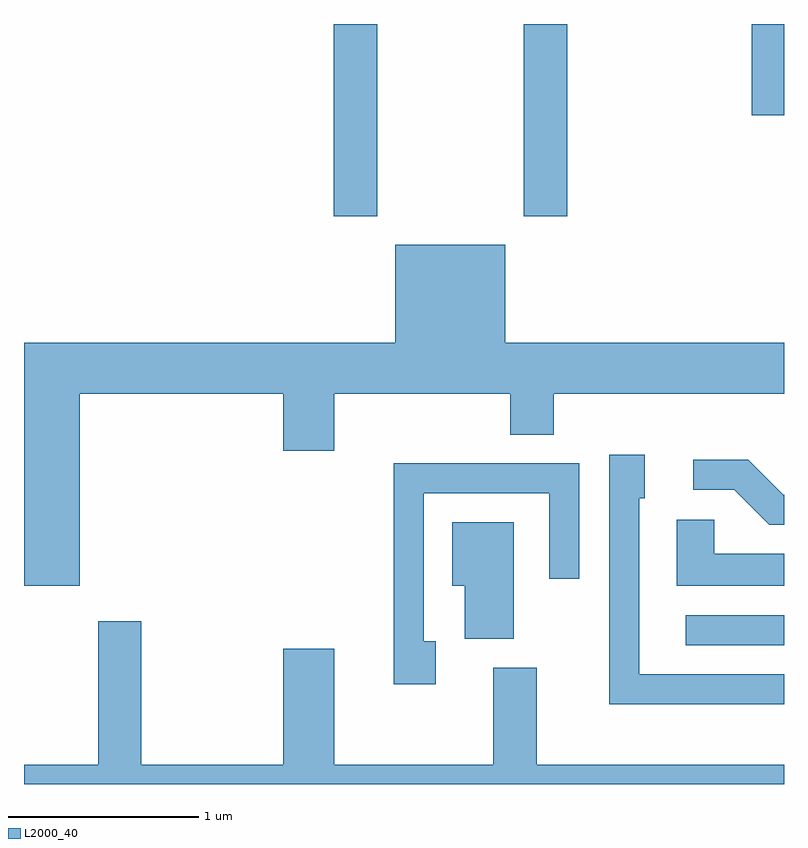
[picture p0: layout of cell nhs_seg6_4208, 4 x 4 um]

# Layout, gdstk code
import gdstk
lib = gdstk.Library(unit=1e-6, precision=1e-09)
def R(c, l, rs):  # rectangles x0, y0, x1, y1
    for r in rs: c.add(gdstk.rectangle(r[:2], r[2:], *l))
def P(c, l, *ps):  # polygons
    for p in ps: c.add(gdstk.Polygon(p, *l))
L2000_40 = (2000, 40)

nhs_seg6_4208 = lib.new_cell('nhs_seg6_4208')
R(nhs_seg6_4208, L2000_40, [(317.093,1590.891,317.611,1591.049), (315.241,1593.151,315.469,1594.162), (316.241,1593.151,316.469,1594.162), (317.441,1593.681,317.611,1594.162)])
P(nhs_seg6_4208, L2000_40, [(313.904,1592.216),(314.976,1592.216),(314.976,1591.916),(315.244,1591.916),(315.244,1592.216),(316.171,1592.216),(316.171,1592.001),(316.399,1592.001),(316.399,1592.216),(317.611,1592.216),(317.611,1592.484),(316.144,1592.484),(316.144,1592.999),(315.566,1592.999),(315.566,1592.484),(313.611,1592.484),(313.611,1591.206),(313.904,1591.206)],
  [(317.611,1590.739),(316.849,1590.739),(316.849,1591.666),(316.879,1591.666),(316.879,1591.894),(316.691,1591.894),(316.691,1590.581),(317.611,1590.581)],
  [(317.611,1591.684),(317.607,1591.684),(317.422,1591.869),(317.133,1591.869),(317.133,1591.711),(317.349,1591.711),(317.534,1591.526),(317.611,1591.526)],
  [(315.779,1590.914),(315.714,1590.914),(315.714,1591.691),(316.376,1591.691),(316.376,1591.243),(316.534,1591.243),(316.534,1591.849),(315.556,1591.849),(315.556,1590.686),(315.779,1590.686)],
  [(317.611,1591.374),(317.244,1591.374),(317.244,1591.554),(317.046,1591.554),(317.046,1591.206),(317.611,1591.206)],
  [(316.189,1591.539),(315.866,1591.539),(315.866,1591.206),(315.931,1591.206),(315.931,1590.926),(316.189,1590.926)],
  [(317.611,1590.264),(316.309,1590.264),(316.309,1590.774),(316.081,1590.774),(316.081,1590.264),(315.244,1590.264),(315.244,1590.874),(314.976,1590.874),(314.976,1590.264),(314.229,1590.264),(314.229,1591.019),(314.001,1591.019),(314.001,1590.264),(313.611,1590.264),(313.611,1590.162),(317.611,1590.162)])

lib.write_gds('nhs_seg6_4208.gds')
